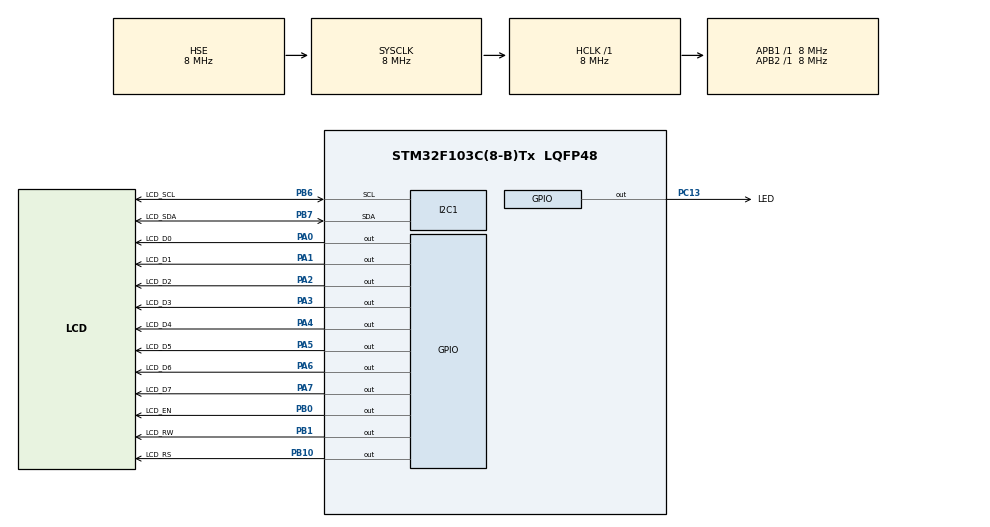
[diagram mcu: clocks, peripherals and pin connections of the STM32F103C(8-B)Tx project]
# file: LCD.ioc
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Mcu.Family=STM32F1
Mcu.Name=STM32F103C(8-B)Tx
Mcu.Package=LQFP48
NVIC.PriorityGroup=NVIC_PRIORITYGROUP_4
PA0-WKUP.GPIO_Label=LCD_D0
PA0-WKUP.Signal=GPIO_Output
PA1.GPIO_Label=LCD_D1
PA1.Signal=GPIO_Output
PA13.Mode=Serial_Wire
PA13.Signal=SYS_JTMS-SWDIO
PA14.Mode=Serial_Wire
PA14.Signal=SYS_JTCK-SWCLK
PA2.GPIO_Label=LCD_D2
PA2.Signal=GPIO_Output
PA3.GPIO_Label=LCD_D3
PA3.Signal=GPIO_Output
PA4.GPIO_Label=LCD_D4
PA4.Signal=GPIO_Output
PA5.GPIO_Label=LCD_D5
PA5.Signal=GPIO_Output
PA6.GPIO_Label=LCD_D6
PA6.Signal=GPIO_Output
PA7.GPIO_Label=LCD_D7
PA7.Signal=GPIO_Output
PB0.GPIO_Label=LCD_EN
PB0.Signal=GPIO_Output
PB1.GPIO_Label=LCD_RW
PB1.Signal=GPIO_Output
PB10.GPIO_Label=LCD_RS
PB10.Signal=GPIO_Output
PB6.GPIO_Label=LCD_SCL
PB6.Mode=I2C
PB6.Signal=I2C1_SCL
PB7.GPIO_Label=LCD_SDA
PB7.Mode=I2C
PB7.Signal=I2C1_SDA
PC13-TAMPER-RTC.GPIO_Label=LED
PC13-TAMPER-RTC.Signal=GPIO_Output
PD0-OSC_IN.Mode=HSE-External-Oscillator
PD0-OSC_IN.Signal=RCC_OSC_IN
PD1-OSC_OUT.Mode=HSE-External-Oscillator
PD1-OSC_OUT.Signal=RCC_OSC_OUT
ProjectManager.HeapSize=0x200
ProjectManager.StackSize=0x400
ProjectManager.TargetToolchain=STM32CubeIDE
RCC.AHBFreq_Value=8000000
RCC.APB1Freq_Value=8000000
RCC.APB1TimFreq_Value=8000000
RCC.APB2Freq_Value=8000000
RCC.APB2TimFreq_Value=8000000
RCC.HCLKFreq_Value=8000000
RCC.SYSCLKFreq_VALUE=8000000
RCC.SYSCLKSource=RCC_SYSCLKSOURCE_HSE
RCC.USBFreq_Value=8000000
board=custom

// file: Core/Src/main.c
/* USER CODE BEGIN Header */
/**
  ******************************************************************************
  * @file           : main.c
  * @brief          : Main program body
  ******************************************************************************
  * @attention
  *
  * <h2><center>&copy; Copyright (c) 2021 STMicroelectronics.
  * All rights reserved.</center></h2>
  *
  * This software component is licensed by ST under BSD 3-Clause license,
  * the "License"; You may not use this file except in compliance with the
  * License. You may obtain a copy of the License at:
  *                        opensource.org/licenses/BSD-3-Clause
  *
  ******************************************************************************
  */
/* USER CODE END Header */
#include "main.h"
#include "i2c.h"
#include "gpio.h"
#include "lcd.h"
#include "lcd_gpio.h"
#include "lcd_i2c.h"

void SystemClock_Config(void);

int main(void)
{

  /* MCU Configuration--------------------------------------------------------*/

  /* Reset of all peripherals, Initializes the Flash interface and the Systick. */
  HAL_Init();

  /* Configure the system clock */
  SystemClock_Config();

  /* Initialize all configured peripherals */
  MX_GPIO_Init();
  MX_I2C1_Init();
  /* USER CODE BEGIN 2 */

  int a = 0;

  	  	  	  	  	  	  	  	  /* CREATING LCD HANDLE THROUGH GPIO */

	LCD_GPIO_t lcd_gpio;

  	GPIO_TypeDef * data_ports[] = { LCD_D0_GPIO_Port, LCD_D1_GPIO_Port, LCD_D2_GPIO_Port, LCD_D3_GPIO_Port,
   								    LCD_D4_GPIO_Port, LCD_D5_GPIO_Port, LCD_D6_GPIO_Port, LCD_D7_GPIO_Port };

//  GPIO_TypeDef * data_ports[] = {LCD_D4_GPIO_Port, LCD_D5_GPIO_Port, LCD_D6_GPIO_Port, LCD_D7_GPIO_Port}; /* For 4-bits operations */

  	LCD_GPIO_Ports_t ports = { LCD_RS_GPIO_Port, LCD_RW_GPIO_Port, LCD_EN_GPIO_Port}; // Filling the port structure handle

    memcpy(ports.data_ports, data_ports, sizeof data_ports); // Concatenating data ports with RS, RW and EN ports

  	uint16_t data_pins[] = { LCD_D0_Pin, LCD_D1_Pin, LCD_D2_Pin, LCD_D3_Pin,
  						     LCD_D4_Pin, LCD_D5_Pin, LCD_D6_Pin, LCD_D7_Pin };

//  uint16_t data_pins[] = {LCD_D4_Pin, LCD_D5_Pin, LCD_D6_Pin, LCD_D7_Pin}; /* For 4-bits operations */

  	LCD_GPIO_Pins_t pins = { LCD_RS_Pin, LCD_RW_Pin, LCD_EN_Pin}; // Filling the pin structure handle

    memcpy(pins.data_pins, data_pins, sizeof data_pins); // Concatenating data pins with RS, RW and EN pins

	LCD_GPIO_Constructor(&lcd_gpio, ports, pins);

	LCD_PrintString(&lcd_gpio.super,"HELLO WORLD");
	LCD_GoTo(&lcd_gpio.super, 1, 10);
	LCD_PrintNumber(&lcd_gpio.super, 1234, 10);
	LCD_GoTo(&lcd_gpio.super, 0, 8);
	LCD_PrintString(&lcd_gpio.super, "KAKAb");
	LCD_GoTo(&lcd_gpio.super, 1, 1);
	LCD_PrintString(&lcd_gpio.super, "Yilmazza");

    							/* CREATING LCD HANDLE THROUGH I2C BUS */

	LCD_I2C_t lcd_i2c;

	LCD_I2C_Constructor(&lcd_i2c, &hi2c1, SLAVE_ADDR);

	LCD_PrintString(&lcd_i2c.super, "HELLO WORLD");
	LCD_GoTo(&lcd_i2c.super, 1, 5);
	LCD_PrintNumber(&lcd_i2c.super, 44453356, 10);

	HAL_Delay(1000);
	LCD_Clear(&lcd_gpio.super);
	HAL_Delay(1000);
	LCD_Clear(&lcd_i2c.super);
	HAL_Delay(1000);

	LCD_ReturnHome(&lcd_gpio.super);
	LCD_ReturnHome(&lcd_i2c.super);

  /* USER CODE END 2 */

  /* Infinite loop */
  while (1)
  {

    /* USER CODE BEGIN 3 */
	LCD_PrintNumber(&lcd_gpio.super, a, 10);
	LCD_PrintNumber(&lcd_i2c.super, a, 10);

	HAL_Delay(1000);

	a++;
	if( a > 100) a = 0;
	LCD_ReturnHome(&lcd_gpio.super);
	LCD_ReturnHome(&lcd_i2c.super);
  }
  /* USER CODE END 3 */
}

void SystemClock_Config(void)
{
  RCC_OscInitTypeDef RCC_OscInitStruct = {0};
  RCC_ClkInitTypeDef RCC_ClkInitStruct = {0};

  /** Initializes the RCC Oscillators according to the specified parameters
  * in the RCC_OscInitTypeDef structure.
  */
  RCC_OscInitStruct.OscillatorType = RCC_OSCILLATORTYPE_HSE;
  RCC_OscInitStruct.HSEState = RCC_HSE_ON;
  RCC_OscInitStruct.PLL.PLLState = RCC_PLL_NONE;
  if (HAL_RCC_OscConfig(&RCC_OscInitStruct) != HAL_OK)
  {
    Error_Handler();
  }
  /** Initializes the CPU, AHB and APB buses clocks
  */
  RCC_ClkInitStruct.ClockType = RCC_CLOCKTYPE_HCLK|RCC_CLOCKTYPE_SYSCLK
                              |RCC_CLOCKTYPE_PCLK1|RCC_CLOCKTYPE_PCLK2;
  RCC_ClkInitStruct.SYSCLKSource = RCC_SYSCLKSOURCE_HSE;
  RCC_ClkInitStruct.AHBCLKDivider = RCC_SYSCLK_DIV1;
  RCC_ClkInitStruct.APB1CLKDivider = RCC_HCLK_DIV1;
  RCC_ClkInitStruct.APB2CLKDivider = RCC_HCLK_DIV1;

  if (HAL_RCC_ClockConfig(&RCC_ClkInitStruct, FLASH_LATENCY_0) != HAL_OK)
  {
    Error_Handler();
  }
}

void Error_Handler(void)
{
  __disable_irq();
  while (1)
  {
  }
}

/************************ (C) COPYRIGHT STMicroelectronics *****END OF FILE****/
